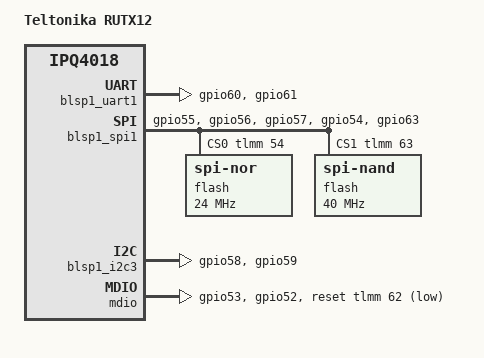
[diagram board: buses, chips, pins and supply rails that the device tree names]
// SPDX-License-Identifier: GPL-2.0-or-later OR MIT

#include "qcom-ipq4019.dtsi"
#include <dt-bindings/gpio/gpio.h>

/ {
	model = "Teltonika RUTX12";
	compatible = "teltonika,rutx12", "qcom,ipq4018";

	aliases {
		serial0 = &blsp1_uart1;
	};

	chosen {
		stdout-path = "serial0:115200n8";
	};
};

&tlmm {
	serial0_pins: serial0_pinmux {
		mux_uart {
			pins = "gpio60", "gpio61";
			function = "blsp_uart0";
			bias-disable;
		};
	};

	spi0_pins: spi0_pinmux {
		mux_spi {
			function = "blsp_spi0";
			pins = "gpio55", "gpio56", "gpio57";
			drive-strength = <12>;
			bias-disable;
		};

		mux_cs {
			function = "gpio";
			pins = "gpio54", "gpio63";
			drive-strength = <2>;
			bias-disable;
			output-high;
		};
	};

	mdio_pins: mdio_pinmux {
		mux_mdio {
			pins = "gpio53";
			function = "mdio";
			bias-pull-up;
		};

		mux_mdc {
			pins = "gpio52";
			function = "mdc";
			bias-pull-up;
		};
	};

	i2c_pins: i2c0_pinmux {
		mux_i2c {
			pins = "gpio58", "gpio59";
			function = "blsp_i2c0";
			bias-disable;
		};
	};
};

&blsp1_uart1 {
	status = "okay";

	pinctrl-0 = <&serial0_pins>;
	pinctrl-names = "default";
};

&blsp1_spi1 {
	status = "okay";

	pinctrl-0 = <&spi0_pins>;
	pinctrl-names = "default";
	cs-gpios = <&tlmm 54 GPIO_ACTIVE_HIGH>, <&tlmm 63 GPIO_ACTIVE_HIGH>;

	flash@0 {
		compatible = "jedec,spi-nor";
		reg = <0>;
		spi-max-frequency = <24000000>;
	};

	flash@1 {
		compatible = "spi-nand";
		reg = <1>;
		spi-max-frequency = <40000000>;
	};
};

&blsp1_i2c3 {
	status = "okay";

	pinctrl-0 = <&i2c_pins>;
	pinctrl-names = "default";
};

&mdio {
	status = "okay";

	pinctrl-0 = <&mdio_pins>;
	pinctrl-names = "default";
	reset-gpios = <&tlmm 62 GPIO_ACTIVE_LOW>;
};
